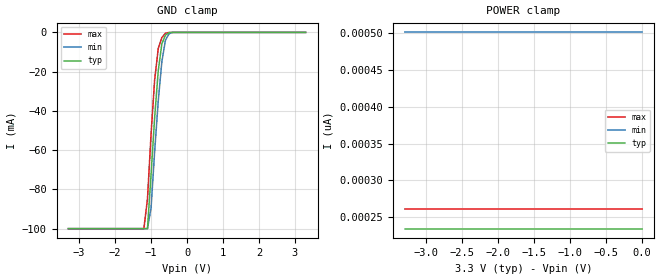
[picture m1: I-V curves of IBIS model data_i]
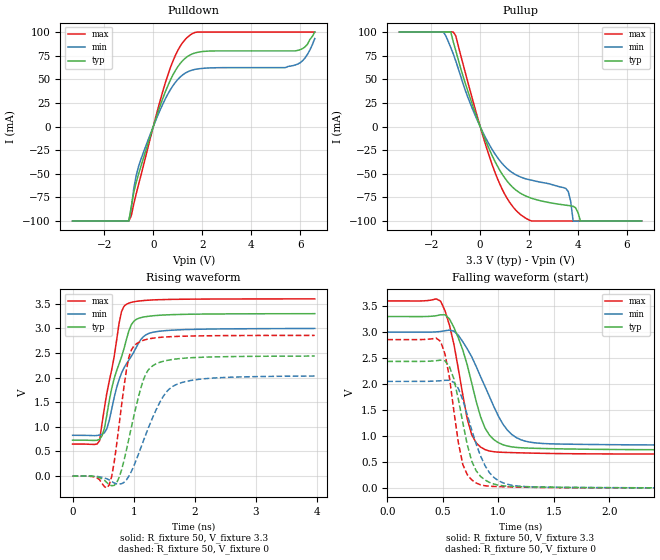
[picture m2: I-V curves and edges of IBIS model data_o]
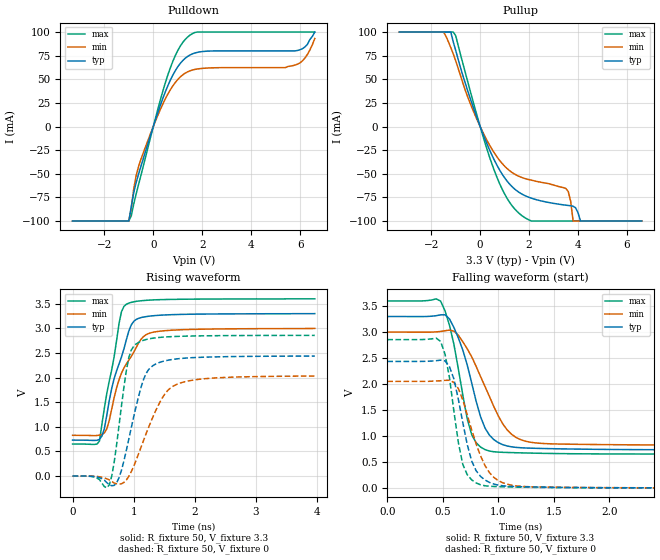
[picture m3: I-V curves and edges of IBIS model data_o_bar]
|   ON Semiconductor Corporation
|   IBIS Model of NL17SZ74US
|   Single D type Flip-Flop
|   US8 (US) Package Type
[IBIS Ver]   3.2
[Comment Char]   |_char
[File name]   nl17sz74us8_c300.ibs
[File Rev]   1.0
[Date]   06/15/04
[Source]
From lab measurements at ON Semiconductor
[Notes]
Created by Duane Mattheisen
Modeling Support Engineer
| This model represents the NL17SZ74US8 where 3.0 <= Vcc =< 3.6
[Disclaimer]
ON Semiconductor Corporation hereby grants
the user of this IBIS model a license to use this IBIS
model under the following terms. This license in non-exclusive
and non-transferable. Before using this IBIS model. After reading
the terms and conditions of this license, the user either must accept
these terms, or the IBIS model should be returned to ON within 30 days.
     The user is hereby granted a license to use the
IBIS model. This shall not be construed as a right to sell, or otherwise
profit either by leasing or renting this software.
     The user may modify the IBIS model to suit his specific applications
but rights to derivative works and such modifications shall belong to
ON Semiconductor.
     This IBIS model is provided on an "as is" basis. ON Semiconductor
makes absolutely no warranty with respect to the information contained
herein. By use of this IBIS model, the user assumes full risk as to the
quality and suitability of the model to his particular use, and by using
this model assumes the entire risk. Under all circumstances the user shall
not hold ON Semiconductor liable in any way for the results obtained. ON
Semiconductor reserves the right to make to improve the model for reliability,
function, or design. ON Semiconductor does not convey any license under patent
rights or any other intellectual property rights, including those of third
parties.
ON Semiconductor is not obligated to provide maintenance or support
for the licensed IBIS model.
Cont ON at ATTN:LOGIC APPLICATIONS/IBIS MODEL.
5005 E. McDowell Road, Phoenix AZ 85008
[Copyright]
(c) 2002 ON Semiconductor Corp.
[Component]   NL17SZ74US8
Si_location Pin
Timing_location Pin
[Manufacturer]   ON Semiconductor Corp.
[Package]
|   typ   min   max
R_pkg   0.023   0.021   0.024
L_pkg   1.28nH   1.25nH   1.32nH
C_pkg   0.12pF   0.10pF   0.14pF
[Pin] signal_name   model_name   R_pin   L_pin   C_pin
1   CP   cntrl_i   24m   1.28n   0.11p
2   D   data_i   21m   1.26n   0.13p
3   Q_bar   data_o_bar   21m   1.25n   0.10p
4   GND   GND   24m   1.27n   0.12p
5   Q   data_o   24m   1.27n   0.14p
6   CLR   cntrl_i   21m   1.26n   0.13p
7   PR_bar   cntrl_i   21m   1.26n   0.10p
8   VCC   POWER   24m   1.32n   0.11p
| Models and submodels in the file (4): data_i (Input), cntrl_i (Input), data_o (Output), data_o_bar (Output)
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[Model]   data_i
Model_type Input
Vinh=2.31
Vinl=0.99
| variable   typ   min   max
C_comp   4.1pf   4.1pf   4.1pf
[Temperature Range] 25   85   -40
[Voltage Range]   3.3   3.00   3.6
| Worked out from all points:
|   GND clamp passes 1 mA (typ) near -0.57 V on its own axis
[GND Clamp]
-3.3V     -100mA     -100mA     -100mA
-1.2V     -100mA     -100mA     -100mA
-1.1V     -100mA     -100mA     -84.93mA
-1V       -72.43mA   -89.41mA   -51.83mA
-900mV    -43.25mA   -60.61mA   -24.15mA
-800mV    -19.56mA   -34.89mA   -8.202mA
-700mV    -5.809mA   -14.91mA   -2.618mA
-600mV    -1.337mA   -4.008mA   -423.3uA
-500mV    -147.5uA   -668uA     -11.99uA
-400mV    -5.049uA   -53.16uA   -112.1nA
3.3V      7pA        891.8pA    308.2pA
[POWER Clamp]
-3.3V     234.3pA    501pA      261.7pA
-3.2V     234.3pA    501pA      261.7pA
-3.1V     234.3pA    501pA      261.7pA
0V        234.3pA    501pA      261.7pA
[Model]   data_o
Model_type Output
Polarity Non-Inverting
Vref=0
Vmeas=1.65
Cref=50p
Rref=500
| variable   typ   min   max
C_comp   5.2pf   5.2pf   5.2pf
[Temperature Range] 25   85   -40
[Voltage Range]   3.3   3.0   3.6
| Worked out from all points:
|   slope of the pulldown table from 0 to 0.495 V, typ, clamps not added: 13.4 ohm
|   slope of the pullup table from 0 to 0.495 V, typ, clamps not added: 15.9 ohm
|   falling waveform, R_fixture 50, V_fixture 3.3: 20-80 % time 206ps typ, 284ps min, 158ps max; typ from 3.3 V to 0.732 V
|   falling waveform, R_fixture 50, V_fixture 0: 20-80 % time 151ps typ, 198ps min, 123ps max; typ from 2.44 V to 0 V
|   rising waveform, R_fixture 50, V_fixture 3.3: 20-80 % time 322ps typ, 398ps min, 247ps max; typ from 0.73 V to 3.3 V
|   rising waveform, R_fixture 50, V_fixture 0: 20-80 % time 284ps typ, 421ps min, 188ps max; typ from 0 V to 2.44 V
[Pullup]
-3.3V     99.99mA    99.99mA    99.99mA
-1.5V     99.99mA    99.99mA    99.99mA
-1.2V     99.99mA    83.48mA    99.99mA
-1.1V     89.6mA     76.82mA    99.99mA
-300mV    21.71mA    17.72mA    27.51mA
600mV     -36.68mA   -28.79mA   -48.1mA
1.7V      -71.4mA    -53.92mA   -94.2mA
3.5V      -83.23mA   -65.55mA   -99.99mA
3.7V      -83.9mA    -79.27mA   -99.99mA
3.8V      -84.35mA   -100mA     -99.99mA
4.1V      -100mA     -100mA     -99.99mA
6.6V      -100mA     -100mA     -99.99mA
[Pulldown]
-3.3V     -100mA     -100mA     -100mA
-1V       -100mA     -100mA     -100mA
-900mV    -84.8mA    -86.46mA   -94.46mA
-800mV    -70.01mA   -66.1mA    -82.18mA
-600mV    -50.06mA   -42.1mA    -61.16mA
100mV     8.01mA     6.458mA    9.967mA
800mV     54.47mA    43.09mA    69.09mA
1.1V      66.72mA    52.43mA    84.98mA
1.5V      75.69mA    58.96mA    96.72mA
5.4V      80.03mA    62.33mA    99.99mA
6.1V      82.41mA    69.59mA    99.99mA
6.6V      99.99mA    93.09mA    99.99mA
[Ramp]
dV/dt_r  1.46E+00/2.80E-10  1.22E+00/4.40E-10  1.71E+00/2.00E-10
dV/dt_f  1.54E+00/2.00E-10 1.31E+00/2.80E-10  1.77E+00/1.60E-10
[Falling Waveform]
R_fixture=50
C_fixture=0p
V_fixture=3.3
V_fixture_min=3.0
V_fixture_max=3.6
|Time   Typ   Min   Max
|SECONDS   VOLTS   VOLTS   VOLTS
0s        3.3V       3V         3.6V
480ps     3.333V     3.012V     3.597V
520ps     3.333V     3.026V     3.409V
600ps     3.088V     3.018V     2.763V
720ps     2.366V     2.677V     1.327V
760ps     2.019V     2.525V     1.024V
880ps     1.152V     1.952V     736.5mV
1.08ns    806mV      1.116V     681.4mV
1.28ns    764.9mV    881.8mV    670mV
3.96ns    731.6mV    822.2mV    650.8mV
[Falling Waveform]
R_fixture=50
C_fixture=0p
V_fixture=0
|Time   Typ   Min   Max
|SECONDS   VOLTS   VOLTS   VOLTS
0s        2.435V     2.05V      2.855V
480ps     2.46V      2.063V     2.82V
520ps     2.445V     2.071V     2.574V
600ps     2.095V     2.031V     1.471V
680ps     1.257V     1.692V     450.5mV
760ps     516mV      1.117V     153.5mV
840ps     220.3mV    615.1mV    58.45mV
960ps     72.88mV    200.6mV    26.28mV
1.2ns     21.59mV    30.4mV     13.28mV
3.96ns    0V         0V         0V
[Rising Waveform]
R_fixture=50
C_fixture=0p
V_fixture=3.3
V_fixture_min=3.0
V_fixture_max=3.6
|Time   Typ   Min   Max
|SECONDS   VOLTS   VOLTS   VOLTS
0s        730.3mV    828.5mV    650.6mV
440ps     746.3mV    832.8mV    712.8mV
560ps     1.237V     962.1mV    1.681V
640ps     1.78V      1.361V     2.158V
760ps     2.278V     1.958V     3.101V
880ps     2.772V     2.28V      3.491V
1ns       3.143V     2.516V     3.54V
1.16ns    3.231V     2.834V     3.566V
1.32ns    3.257V     2.923V     3.579V
3.96ns    3.3V       3V         3.6V
[Rising Waveform]
R_fixture=50
C_fixture=0p
V_fixture=0
|Time   Typ   Min   Max
|SECONDS   VOLTS   VOLTS   VOLTS
0s        0V         0V         0V
600ps     -174.3mV   -77.47mV   -178.4mV
680ps     -188.5mV   -139.1mV   276.9mV
760ps     -31.95mV   -162.8mV   1.03V
920ps     753.5mV    -4.039mV   2.409V
1.08ns    1.621V     453.9mV    2.716V
1.28ns    2.211V     1.103V     2.795V
1.52ns    2.344V     1.686V     2.826V
1.72ns    2.383V     1.872V     2.838V
3.96ns    2.438V     2.033V     2.858V
[Model]   data_o_bar
Model_type Output
Polarity Inverting
Vref=0
Vmeas=1.65
Cref=50p
Rref=500
| variable   typ   min   max
C_comp   5.2pf   5.2pf   5.2pf
[Temperature Range] 25   85   -40
[Voltage Range]   3.3   3.0   3.6
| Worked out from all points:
|   slope of the pulldown table from 0 to 0.495 V, typ, clamps not added: 13.4 ohm
|   slope of the pullup table from 0 to 0.495 V, typ, clamps not added: 15.9 ohm
|   falling waveform, R_fixture 50, V_fixture 3.3: 20-80 % time 206ps typ, 284ps min, 158ps max; typ from 3.3 V to 0.732 V
|   falling waveform, R_fixture 50, V_fixture 0: 20-80 % time 151ps typ, 198ps min, 123ps max; typ from 2.44 V to 0 V
|   rising waveform, R_fixture 50, V_fixture 3.3: 20-80 % time 322ps typ, 398ps min, 247ps max; typ from 0.73 V to 3.3 V
|   rising waveform, R_fixture 50, V_fixture 0: 20-80 % time 284ps typ, 421ps min, 188ps max; typ from 0 V to 2.44 V
[Pullup]
-3.3V     99.99mA    99.99mA    99.99mA
-1.5V     99.99mA    99.99mA    99.99mA
-1.2V     99.99mA    83.48mA    99.99mA
-1.1V     89.6mA     76.82mA    99.99mA
-300mV    21.71mA    17.72mA    27.51mA
600mV     -36.68mA   -28.79mA   -48.1mA
1.7V      -71.4mA    -53.92mA   -94.2mA
3.5V      -83.23mA   -65.55mA   -99.99mA
3.7V      -83.9mA    -79.27mA   -99.99mA
3.8V      -84.35mA   -100mA     -99.99mA
4.1V      -100mA     -100mA     -99.99mA
6.6V      -100mA     -100mA     -99.99mA
[Pulldown]
-3.3V     -100mA     -100mA     -100mA
-1V       -100mA     -100mA     -100mA
-900mV    -84.8mA    -86.46mA   -94.46mA
-800mV    -70.01mA   -66.1mA    -82.18mA
-600mV    -50.06mA   -42.1mA    -61.16mA
100mV     8.01mA     6.458mA    9.967mA
800mV     54.47mA    43.09mA    69.09mA
1.1V      66.72mA    52.43mA    84.98mA
1.5V      75.69mA    58.96mA    96.72mA
5.4V      80.03mA    62.33mA    99.99mA
6.1V      82.41mA    69.59mA    99.99mA
6.6V      99.99mA    93.09mA    99.99mA
[Ramp]
dV/dt_r  1.46E+00/2.80E-10  1.22E+00/4.40E-10  1.71E+00/2.00E-10
dV/dt_f  1.54E+00/2.00E-10 1.31E+00/2.80E-10  1.77E+00/1.60E-10
[Falling Waveform]
R_fixture=50
C_fixture=0p
V_fixture=3.3
V_fixture_min=3.0
V_fixture_max=3.6
|Time   Typ   Min   Max
|SECONDS   VOLTS   VOLTS   VOLTS
0s        3.3V       3V         3.6V
480ps     3.333V     3.012V     3.597V
520ps     3.333V     3.026V     3.409V
600ps     3.088V     3.018V     2.763V
720ps     2.366V     2.677V     1.327V
760ps     2.019V     2.525V     1.024V
880ps     1.152V     1.952V     736.5mV
1.08ns    806mV      1.116V     681.4mV
1.28ns    764.9mV    881.8mV    670mV
3.96ns    731.6mV    822.2mV    650.8mV
[Falling Waveform]
R_fixture=50
C_fixture=0p
V_fixture=0
|Time   Typ   Min   Max
|SECONDS   VOLTS   VOLTS   VOLTS
0s        2.435V     2.05V      2.855V
480ps     2.46V      2.063V     2.82V
520ps     2.445V     2.071V     2.574V
600ps     2.095V     2.031V     1.471V
680ps     1.257V     1.692V     450.5mV
760ps     516mV      1.117V     153.5mV
840ps     220.3mV    615.1mV    58.45mV
960ps     72.88mV    200.6mV    26.28mV
1.2ns     21.59mV    30.4mV     13.28mV
3.96ns    0V         0V         0V
[Rising Waveform]
R_fixture=50
C_fixture=0p
V_fixture=3.3
V_fixture_min=3.0
V_fixture_max=3.6
|Time   Typ   Min   Max
|SECONDS   VOLTS   VOLTS   VOLTS
0s        730.3mV    828.5mV    650.6mV
440ps     746.3mV    832.8mV    712.8mV
560ps     1.237V     962.1mV    1.681V
640ps     1.78V      1.361V     2.158V
760ps     2.278V     1.958V     3.101V
880ps     2.772V     2.28V      3.491V
1ns       3.143V     2.516V     3.54V
1.16ns    3.231V     2.834V     3.566V
1.32ns    3.257V     2.923V     3.579V
3.96ns    3.3V       3V         3.6V
[Rising Waveform]
R_fixture=50
C_fixture=0p
V_fixture=0
|Time   Typ   Min   Max
|SECONDS   VOLTS   VOLTS   VOLTS
0s        0V         0V         0V
600ps     -174.3mV   -77.47mV   -178.4mV
680ps     -188.5mV   -139.1mV   276.9mV
760ps     -31.95mV   -162.8mV   1.03V
920ps     753.5mV    -4.039mV   2.409V
1.08ns    1.621V     453.9mV    2.716V
1.28ns    2.211V     1.103V     2.795V
1.52ns    2.344V     1.686V     2.826V
1.72ns    2.383V     1.872V     2.838V
3.96ns    2.438V     2.033V     2.858V
